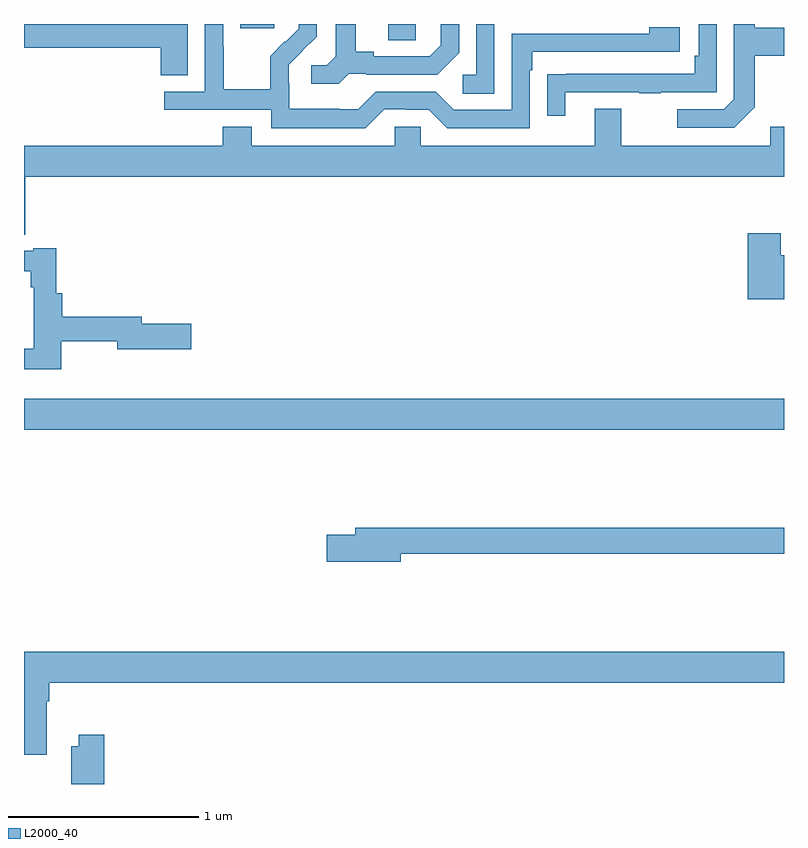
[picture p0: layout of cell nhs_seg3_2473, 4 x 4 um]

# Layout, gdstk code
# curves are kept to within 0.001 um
import gdstk
lib = gdstk.Library(unit=1e-6, precision=1e-09)
def R(c, l, rs):  # rectangles x0, y0, x1, y1
    for r in rs: c.add(gdstk.rectangle(r[:2], r[2:], *l))
def P(c, l, *ps):  # polygons
    for p in ps: c.add(gdstk.Polygon(p, *l))
L2000_40 = (2000, 40)

nhs_seg3_2473 = lib.new_cell('nhs_seg3_2473')
R(nhs_seg3_2473, L2000_40, [(239,686.264,243,686.428), (240.917,688.315,241.062,688.4), (240.137,688.377,240.316,688.4)])
P(nhs_seg3_2473, L2000_40, [(242.845,687.961),(242.845,688.234),(243,688.234),(243,688.381),(242.845,688.381),(242.845,688.4),(242.736,688.4),(242.736,688.005),(242.682,687.951),(242.439,687.951),(242.439,687.855),(242.739,687.855)],
  [(239.863,688.4),(239,688.4),(239,688.276),(239.72,688.276),(239.72,688.129),(239.863,688.129)],
  [(241.476,688.4),(241.38,688.4),(241.38,688.134),(241.308,688.134),(241.308,688.033),(241.476,688.033)],
  [(240.708,688.137),(240.802,688.137),(240.802,688.134),(241.174,688.134),(241.29,688.25),(241.29,688.4),(241.193,688.4),(241.193,688.287),(241.136,688.23),(240.841,688.23),(240.841,688.253),(240.745,688.253),(240.745,688.4),(240.641,688.4),(240.641,688.229),(240.594,688.182),(240.513,688.182),(240.513,688.085),(240.656,688.085)],
  [(241.849,688.041),(242.239,688.041),(242.239,688.036),(242.351,688.036),(242.351,688.041),(242.646,688.041),(242.646,688.4),(242.55,688.4),(242.55,688.234),(242.53,688.234),(242.53,688.137),(241.855,688.137),(241.855,688.136),(241.753,688.136),(241.753,687.918),(241.849,687.918)],
  [(240.897,687.951),(241.013,687.951),(241.013,687.948),(241.131,687.948),(241.227,687.852),(241.662,687.852),(241.662,688.157),(241.675,688.157),(241.675,688.254),(242.452,688.254),(242.452,688.384),(242.291,688.384),(242.291,688.35),(241.566,688.35),(241.566,687.948),(241.263,687.948),(241.167,688.044),(240.852,688.044),(240.759,687.951),(240.659,687.951),(240.659,687.955),(240.396,687.955),(240.396,688.089),(240.394,688.089),(240.394,688.186),(240.54,688.334),(240.54,688.4),(240.446,688.4),(240.446,688.376),(240.375,688.305),(240.372,688.308),(240.295,688.231),(240.295,688.057),(240.051,688.057),(240.051,688.28),(240.048,688.28),(240.048,688.4),(239.952,688.4),(239.952,688.044),(239.739,688.044),(239.739,687.948),(240.3,687.948),(240.3,687.851),(240.797,687.851)],
  [(243,687.859),(242.927,687.859),(242.927,687.76),(242.143,687.76),(242.143,687.955),(242.003,687.955),(242.003,687.76),(241.089,687.76),(241.089,687.858),(240.951,687.858),(240.951,687.76),(240.199,687.76),(240.199,687.859),(240.047,687.859),(240.047,687.76),(239,687.76),(239,687.292),(239.006,687.292),(239.006,687.596),(243,687.596)],
  [(243,687.184),(242.983,687.184),(242.983,687.3),(242.81,687.3),(242.81,686.951),(243,686.951)],
  [(239.196,686.73),(239.492,686.73),(239.492,686.687),(239.881,686.687),(239.881,686.822),(239.62,686.822),(239.62,686.858),(239.201,686.858),(239.201,686.983),(239.171,686.983),(239.171,687.22),(239.048,687.22),(239.048,687.207),(239,687.207),(239,687.099),(239.035,687.099),(239.035,687.014),(239.05,687.014),(239.05,686.692),(239,686.692),(239,686.582),(239.196,686.582)],
  [(240.982,685.612),(243,685.612),(243,685.748),(240.743,685.748),(240.743,685.712),(240.594,685.712),(240.594,685.57),(240.982,685.57)],
  [(239.119,684.836),(239.132,684.836),(239.132,684.932),(243,684.932),(243,685.096),(239,685.096),(239,684.555),(239.119,684.555)],
  [(239.423,684.658),(239.288,684.658),(239.288,684.598),(239.248,684.598),(239.248,684.4),(239.423,684.4)])

lib.write_gds('nhs_seg3_2473.gds')
